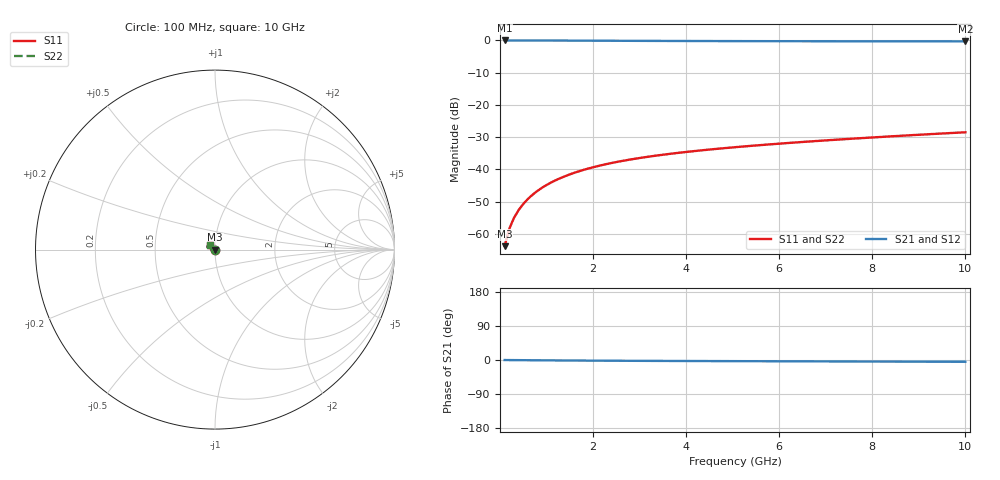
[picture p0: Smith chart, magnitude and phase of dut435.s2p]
! Touchstone file exported from HFSS 2024.1.0
!  File:  C:/UserFiles/LocalFiles/RDL_TSV_Batchsim/temp_TSV1_435_1779694616.aedt
!  Generated:  03:44:16 PM May 25, 2026
!  Design:  TSV1
!  Project:  temp_TSV1_435_1779694616
!  Setup:  Setup1
!  Solution:  Sweep
! Variables:
!  dtsv = 6.79um
!  hbump = 3um
!  htsv = 66.49um
!  lrdl = 252.1521522um
!  p = 40
!  p1 = 58.88um
!  t = 500um
!  trdl = 3um
!  wrdl = 24.89489489um
# GHz S MA R 50.000000
! Terminal data exported
! Port[1] = TSV22_T1
! Port[2] = TSV22_T2
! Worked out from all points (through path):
!   100 points, 100 MHz to 10 GHz, reference 50 ohm
!   highest |S21| = 0.00 dB at 100 MHz (marker M1); lowest = -0.3 dB at 10 GHz (marker M2)
!   lowest |S11| = -63.8 dB at 100 MHz (marker M3), VSWR 1.00, Z = 50 - j0.0592 ohm
!   |S11| at or under -10 dB: start of sweep to end of sweep
!   |S22| runs from -63.8 to -28.5 dB; largest |S21 - S12| = 3.3e-15
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0.1  0.0006421 -67.1  0.9997 -0.1  0.9997 -0.1  0.0006421 -67.1
! Gamma 0 0 0 0
! Port Impedance 50 0 50 0
0.2  0.001191 -81.8  0.9996 -0.2  0.9996 -0.2  0.001191 -81.8
0.3  0.001758 -88.9  0.9995 -0.3  0.9995 -0.3  0.001758 -88.9
0.4  0.002329 -93.7  0.9993 -0.4  0.9993 -0.4  0.002329 -93.7
0.5  0.002901 -97.6  0.999 -0.5  0.999 -0.5  0.002901 -97.6
0.6  0.003471 -101.1  0.9987 -0.6  0.9987 -0.6  0.003471 -101.1
0.7  0.004037 -104.2  0.9984 -0.7  0.9984 -0.7  0.004037 -104.2
0.8  0.004599 -107.2  0.998 -0.8  0.998 -0.8  0.004599 -107.2
0.9  0.005156 -110.0  0.9976 -0.8  0.9976 -0.8  0.005156 -110.0
1.1  0.00625 -115.4  0.9966 -1.0  0.9966 -1.0  0.00625 -115.4
1.4  0.007833 -122.9  0.995 -1.3  0.995 -1.3  0.007833 -122.9
1.6  0.008845 -127.6  0.9939 -1.4  0.9939 -1.4  0.008845 -127.6
1.8  0.009822 -132.2  0.9927 -1.5  0.9927 -1.5  0.009822 -132.2
2.1  0.01122 -138.6  0.9908 -1.7  0.9908 -1.7  0.01122 -138.6
2.5  0.01297 -146.7  0.9883 -2.0  0.9883 -2.0  0.01297 -146.7
2.9  0.01459 -154.1  0.9859 -2.2  0.9859 -2.2  0.01459 -154.1
3.4  0.01648 -162.5  0.9832 -2.4  0.9832 -2.4  0.01648 -162.5
4.2  0.01927 -174.2  0.9795 -2.7  0.9795 -2.7  0.01927 -174.2
5.1  0.0222 174.7  0.9762 -3.1  0.9762 -3.1  0.0222 174.7
6.7  0.02719 159.4  0.9721 -3.6  0.9721 -3.6  0.02719 159.4
8.4  0.03248 147.3  0.9692 -4.2  0.9692 -4.2  0.03248 147.3
10  0.03757 138.7  0.9672 -4.8  0.9672 -4.8  0.03757 138.7
